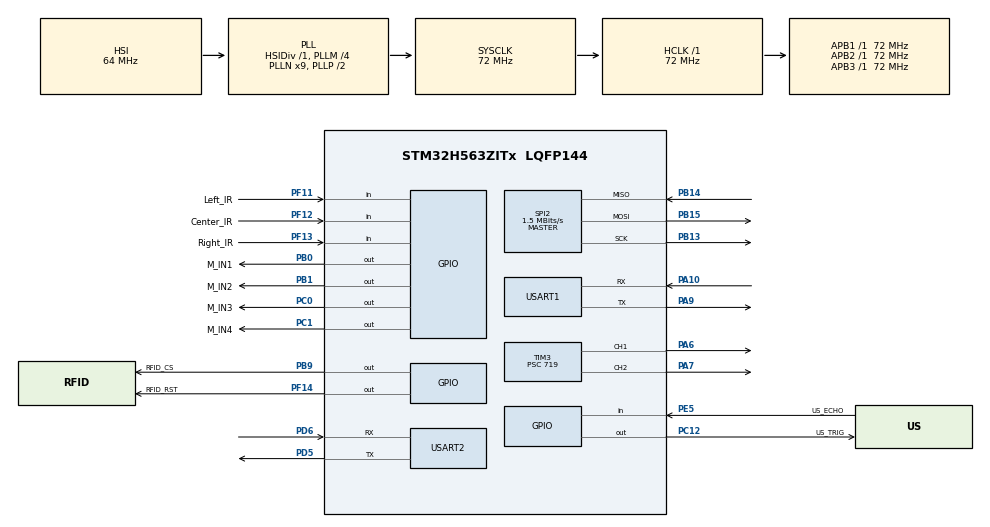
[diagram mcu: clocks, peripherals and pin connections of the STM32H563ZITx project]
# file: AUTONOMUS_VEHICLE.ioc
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BOOTPATH.BootPathName=LEGACY
BOOTPATH.UserSelectedBootPath=LEGACY
CORTEX_M33_NS.userName=CORTEX_M33
Mcu.Family=STM32H5
Mcu.Name=STM32H563ZITx
Mcu.Package=LQFP144
NVIC.PriorityGroup=NVIC_PRIORITYGROUP_4
NVIC.USART1_IRQn=true\:0\:0\:false\:false\:true\:true\:true\:true
PA10.Mode=Asynchronous
PA10.Signal=USART1_RX
PA6.Signal=S_TIM3_CH1
PA7.Signal=S_TIM3_CH2
PA9.Mode=Asynchronous
PA9.Signal=USART1_TX
PB0.GPIO_Label=M_IN1
PB0.Signal=GPIO_Output
PB1.GPIO_Label=M_IN2
PB1.Signal=GPIO_Output
PB13.Mode=Full_Duplex_Master
PB13.Signal=SPI2_SCK
PB14.Mode=Full_Duplex_Master
PB14.Signal=SPI2_MISO
PB15.Mode=Full_Duplex_Master
PB15.Signal=SPI2_MOSI
PB9.GPIO_Label=RFID_CS
PB9.Signal=GPIO_Output
PC0.GPIO_Label=M_IN3
PC0.Signal=GPIO_Output
PC1.GPIO_Label=M_IN4
PC1.Signal=GPIO_Output
PC12.GPIO_Label=US_TRIG
PC12.Signal=GPIO_Output
PD5.Mode=Asynchronous
PD5.Signal=USART2_TX
PD6.Mode=Asynchronous
PD6.Signal=USART2_RX
PE5.GPIO_Label=US_ECHO
PE5.Signal=GPIO_Input
PF11.GPIO_Label=Left_IR
PF11.GPIO_PuPd=GPIO_PULLUP
PF11.Signal=GPIO_Input
PF12.GPIO_Label=Center_IR
PF12.GPIO_PuPd=GPIO_PULLUP
PF12.Signal=GPIO_Input
PF13.GPIO_Label=Right_IR
PF13.GPIO_PuPd=GPIO_PULLUP
PF13.Signal=GPIO_Input
PF14.GPIO_Label=RFID_RST
PF14.Signal=GPIO_Output
ProjectManager.HeapSize=0x200
ProjectManager.StackSize=0x400
ProjectManager.TargetToolchain=STM32CubeIDE
RCC.ADCFreq_Value=72000000
RCC.AHBFreq_Value=72000000
RCC.APB1Freq_Value=72000000
RCC.APB1TimFreq_Value=72000000
RCC.APB2Freq_Value=72000000
RCC.APB2TimFreq_Value=72000000
RCC.APB3Freq_Value=72000000
RCC.CSI_VALUE=4000000
RCC.CortexFreq_Value=72000000
RCC.EPOD_VALUE=64000000
RCC.HCLKFreq_Value=72000000
RCC.HSE_VALUE=25000000
RCC.HSI48_VALUE=48000000
RCC.HSIDiv=RCC_HSI_DIV1
RCC.HSI_VALUE=64000000
RCC.LSE_VALUE=32768
RCC.LSIRC_VALUE=32000
RCC.PLL1Q=3
RCC.PLL2FRACN=0
RCC.PLL3FRACN=0
RCC.PLLFRACN=0
RCC.PLLM=4
RCC.PLLN=9
RCC.PLLSourceVirtual=RCC_PLL1_SOURCE_HSI
RCC.SYSCLKFreq_VALUE=72000000
RCC.SYSCLKSource=RCC_SYSCLKSOURCE_PLLCLK
RCC.USBFreq_Value=48000000
RCC.VCOOutputFreq_Value=144000000
SH.S_TIM3_CH1.0=TIM3_CH1,PWM Generation1 CH1
SH.S_TIM3_CH2.0=TIM3_CH2,PWM Generation2 CH2
SPI2.BaudRatePrescaler=SPI_BAUDRATEPRESCALER_32
SPI2.CalculateBaudRate=1.5 MBits/s
SPI2.DataSize=SPI_DATASIZE_8BIT
SPI2.Direction=SPI_DIRECTION_2LINES
SPI2.Mode=SPI_MODE_MASTER
SPI2.VirtualType=VM_MASTER
TIM3.Channel-PWM\ Generation1\ CH1=TIM_CHANNEL_1
TIM3.Channel-PWM\ Generation2\ CH2=TIM_CHANNEL_2
TIM3.PeriodNoDither=99
TIM3.Prescaler=719
USART1.VirtualMode-Asynchronous=VM_ASYNC
USART2.VirtualMode-Asynchronous=VM_ASYNC
VP_BOOTPATH_VS_BOOTPATH.Mode=BP_Activate
VP_CORTEX_M33_NS_VS_Hclk.Mode=Hclk_Mode
VP_MEMORYMAP_VS_MEMORYMAP.Mode=CurAppReg
VP_PWR_VS_LPOM.Mode=PowerOptimisation
VP_PWR_VS_SECSignals.Mode=Security/Privilege
VP_TIM3_VS_ClockSourceINT.Mode=Internal
board=custom

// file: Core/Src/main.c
//----------------------------07-11-26----------------------------//

/* USER CODE BEGIN Header */
/**
  ******************************************************************************
  * @file           : main.c
  * @brief          : Main program body
  ******************************************************************************
  * @attention
  *
  * Copyright (c) 2026 STMicroelectronics.
  * All rights reserved.
  *
  * This software is licensed under terms that can be found in the LICENSE file
  * in the root directory of this software component.
  * If no LICENSE file comes with this software, it is provided AS-IS.
  *
  ******************************************************************************
  */
/* USER CODE END Header */
#include "main.h"

/* USER CODE BEGIN Includes */

#include "line_follower.h"
#include "ultrasonic.h"
#include "rc522.h"

#include <stdio.h>
#include <stdlib.h>
#include <string.h>
#include <stdint.h>
#include <ctype.h>
/* USER CODE END Includes */

SPI_HandleTypeDef hspi2;

TIM_HandleTypeDef htim3;

UART_HandleTypeDef huart1;
UART_HandleTypeDef huart2;

void SystemClock_Config(void);
static void MX_GPIO_Init(void);
static void MX_SPI2_Init(void);
static void MX_TIM3_Init(void);
static void MX_USART1_UART_Init(void);
static void MX_USART2_UART_Init(void);
/* USER CODE BEGIN PFP */
static void USART1_ProcessRx(void);
static void USART1_SendLine(const char *line);
static void USART1_HandleCommand(char *line);
static void USART1_ReportEvents(void);
/* USER CODE END PFP */

/* USER CODE BEGIN 0 */
int __io_putchar(int ch)
{
    uint8_t c = (uint8_t)ch;

    /* Local STM32 debug console (USART2). */
    (void)HAL_UART_Transmit(&huart2, &c, 1U, 10U);

    /* Mirror STM32 debug text to ESP32 gateway (USART1). */
    (void)HAL_UART_Transmit(&huart1, &c, 1U, 10U);

    return ch;
}

#define USART1_RX_BUFFER_SIZE 96U
#define USART1_RX_QUEUE_SIZE 128U
static char usart1RxBuffer[USART1_RX_BUFFER_SIZE];
static uint8_t usart1RxIndex = 0U;
static uint8_t usart1RxByte = 0U;
static volatile uint8_t usart1RxQueue[USART1_RX_QUEUE_SIZE];
static volatile uint16_t usart1RxHead = 0U;
static volatile uint16_t usart1RxTail = 0U;
static volatile uint8_t usart1RxOverflow = 0U;
static char activeTurnJunction[8] = "J?";

/* Route graph: point index 0=START, 1..6=D1..D6.
 * Directions are taken from the user's verified origin-specific route sheets. */
typedef struct { const char *junction; const char *direction; } RouteStep;
#define MAX_ROUTE_STEPS 6U
#define POINT_COUNT 7U
#define STEP(j,d) { j, d }
#define EMPTY_STEP { NULL, NULL }
static const RouteStep routeTable[POINT_COUNT][POINT_COUNT][MAX_ROUTE_STEPS] = {
/* FROM START */
[0][1] = { STEP("J1","LEFT") },
[0][2] = { STEP("J1","STRAIGHT"), STEP("J6","LEFT"), STEP("J2","LEFT") },
[0][3] = { STEP("J1","STRAIGHT"), STEP("J6","LEFT"), STEP("J2","STRAIGHT"), STEP("J5","RIGHT"), STEP("J3","RIGHT") },
[0][4] = { STEP("J1","STRAIGHT"), STEP("J6","LEFT"), STEP("J2","STRAIGHT"), STEP("J5","RIGHT"), STEP("J3","STRAIGHT"), STEP("J4","LEFT") },
[0][5] = { STEP("J1","STRAIGHT"), STEP("J6","LEFT"), STEP("J2","STRAIGHT"), STEP("J5","STRAIGHT") },
[0][6] = { STEP("J1","STRAIGHT"), STEP("J6","STRAIGHT") },
/* FROM D1 */
[1][0] = { STEP("J1","RIGHT") },
[1][2] = { STEP("J1","LEFT"), STEP("J6","LEFT"), STEP("J2","LEFT") },
[1][3] = { STEP("J1","LEFT"), STEP("J6","LEFT"), STEP("J2","STRAIGHT"), STEP("J5","RIGHT"), STEP("J3","RIGHT") },
[1][4] = { STEP("J1","LEFT"), STEP("J6","LEFT"), STEP("J2","STRAIGHT"), STEP("J5","RIGHT"), STEP("J3","STRAIGHT"), STEP("J4","LEFT") },
[1][5] = { STEP("J1","LEFT"), STEP("J6","LEFT"), STEP("J2","STRAIGHT"), STEP("J5","STRAIGHT") },
[1][6] = { STEP("J1","LEFT"), STEP("J6","STRAIGHT") },
/* FROM D2 */
[2][0] = { STEP("J2","RIGHT"), STEP("J6","RIGHT"), STEP("J1","STRAIGHT") },
[2][1] = { STEP("J2","RIGHT"), STEP("J6","RIGHT"), STEP("J1","RIGHT") },
[2][3] = { STEP("J2","LEFT"), STEP("J5","RIGHT"), STEP("J3","RIGHT") },
[2][4] = { STEP("J2","LEFT"), STEP("J5","RIGHT"), STEP("J3","STRAIGHT"), STEP("J4","LEFT") },
[2][5] = { STEP("J2","LEFT"), STEP("J5","STRAIGHT") },
[2][6] = { STEP("J2","RIGHT"), STEP("J6","LEFT") },
/* FROM D3 */
[3][0] = { STEP("J3","LEFT"), STEP("J5","LEFT"), STEP("J2","STRAIGHT"), STEP("J6","RIGHT"), STEP("J1","STRAIGHT") },
[3][1] = { STEP("J3","LEFT"), STEP("J5","LEFT"), STEP("J2","STRAIGHT"), STEP("J6","RIGHT"), STEP("J1","RIGHT") },
[3][2] = { STEP("J3","LEFT"), STEP("J5","LEFT"), STEP("J2","RIGHT") },
[3][4] = { STEP("J3","RIGHT"), STEP("J4","LEFT") },
[3][5] = { STEP("J3","LEFT"), STEP("J5","RIGHT") },
[3][6] = { STEP("J3","LEFT"), STEP("J5","LEFT"), STEP("J2","STRAIGHT"), STEP("J6","LEFT") },
/* FROM D4 */
[4][0] = { STEP("J4","RIGHT"), STEP("J3","STRAIGHT"), STEP("J5","LEFT"), STEP("J2","STRAIGHT"), STEP("J6","RIGHT"), STEP("J1","STRAIGHT") },
[4][1] = { STEP("J4","RIGHT"), STEP("J3","STRAIGHT"), STEP("J5","LEFT"), STEP("J2","STRAIGHT"), STEP("J6","RIGHT"), STEP("J1","RIGHT") },
[4][2] = { STEP("J4","RIGHT"), STEP("J3","STRAIGHT"), STEP("J5","LEFT"), STEP("J2","RIGHT") },
[4][3] = { STEP("J4","RIGHT"), STEP("J3","LEFT") },
[4][5] = { STEP("J4","RIGHT"), STEP("J3","STRAIGHT"), STEP("J5","RIGHT") },
[4][6] = { STEP("J4","RIGHT"), STEP("J3","STRAIGHT"), STEP("J5","LEFT"), STEP("J2","STRAIGHT"), STEP("J6","LEFT") },
/* FROM D5 */
[5][0] = { STEP("J5","STRAIGHT"), STEP("J2","STRAIGHT"), STEP("J6","RIGHT"), STEP("J1","STRAIGHT") },
[5][1] = { STEP("J5","STRAIGHT"), STEP("J2","STRAIGHT"), STEP("J6","RIGHT"), STEP("J1","RIGHT") },
[5][2] = { STEP("J5","STRAIGHT"), STEP("J2","RIGHT") },
[5][3] = { STEP("J5","LEFT"), STEP("J3","RIGHT") },
[5][4] = { STEP("J5","LEFT"), STEP("J3","STRAIGHT"), STEP("J4","LEFT") },
[5][6] = { STEP("J5","STRAIGHT"), STEP("J2","STRAIGHT"), STEP("J6","LEFT") },
/* FROM D6 */
[6][0] = { STEP("J6","STRAIGHT"), STEP("J1","STRAIGHT") },
[6][1] = { STEP("J6","STRAIGHT"), STEP("J1","RIGHT") },
[6][2] = { STEP("J6","RIGHT"), STEP("J2","LEFT") },
[6][3] = { STEP("J6","RIGHT"), STEP("J2","STRAIGHT"), STEP("J5","RIGHT"), STEP("J3","RIGHT") },
[6][4] = { STEP("J6","RIGHT"), STEP("J2","STRAIGHT"), STEP("J5","RIGHT"), STEP("J3","STRAIGHT"), STEP("J4","LEFT") },
[6][5] = { STEP("J6","RIGHT"), STEP("J2","STRAIGHT"), STEP("J5","STRAIGHT") }
};
static const uint8_t routeLengths[POINT_COUNT][POINT_COUNT] = {
 {0,1,3,5,6,4,2},
 {1,0,3,5,6,4,2},
 {3,3,0,3,4,2,2},
 {5,5,3,0,2,2,4},
 {6,6,4,2,0,3,5},
 {4,4,2,2,3,0,3},
 {2,2,2,4,5,3,0}
};
static int8_t selectedDestination = -1;
static int8_t currentLocation = -1; /* 0=START, 1..6=D1..D6, -1=unknown */
static int8_t routeOrigin = -1;
static uint8_t routeIndex = 0U;
static uint8_t routeActive = 0U;
static uint8_t turnInProgress = 0U;
static uint8_t uTurnPending = 0U;
/* Arrival latch filters repeated events; RC522 polling never stops. */
static uint8_t destinationReachedLock = 0U;
static uint8_t rfidReady = 0U;
static uint8_t lastSeenUID[4] = {0U};
static uint8_t haveLastUID = 0U;
/* RFID anti-repeat: tolerate brief RC522 read dropouts without re-triggering. */
#define RFID_RELEASE_DEBOUNCE_MS  300U
#define RFID_DUPLICATE_GUARD_MS   1200U
static uint32_t lastSuccessfulUIDReadMs = 0U;
static uint32_t lastProcessedUIDMs = 0U;
static uint8_t haveProcessedUID = 0U;
static uint8_t lastProcessedUID[4] = {0U};

static const struct { const char *name; uint8_t uid[4]; } tagTable[] = {
    {"J1", {0x5A,0xA1,0xCB,0xF2}}, {"J2", {0x48,0xCF,0x69,0xFC}},
    {"J3", {0x2A,0xEA,0x45,0xF2}}, {"J4", {0x59,0xB7,0xEC,0xDA}},
    {"J5", {0x0A,0x6E,0xA0,0xF2}}, {"J6", {0xAD,0xD3,0x0F,0x05}},
    {"START", {0x44,0x30,0x19,0x07}},
    {"D1", {0x56,0x3E,0xC4,0xD3}}, {"D2", {0x49,0x4D,0x1D,0xDA}},
    {"D3", {0x1A,0x7B,0x49,0xF2}}, {"D4", {0x43,0x09,0x27,0x38}},
    {"D5", {0x0A,0xCF,0x77,0xF2}}, {"D6", {0xFA,0x44,0x1D,0xF1}}
};
#define TAG_COUNT ((uint8_t)(sizeof(tagTable)/sizeof(tagTable[0])))

static void USART1_SendLine(const char *line)
{
    if (line == NULL) return;
    (void)HAL_UART_Transmit(&huart1, (uint8_t *)line, (uint16_t)strlen(line), 100U);
    (void)HAL_UART_Transmit(&huart1, (uint8_t *)"\r\n", 2U, 100U);

    char debugLine[128];
    int n = snprintf(debugLine, sizeof(debugLine), "[USART1 TX] %s\r\n", line);
    if (n > 0) {
        size_t count = ((size_t)n < sizeof(debugLine)) ? (size_t)n : sizeof(debugLine) - 1U;
        (void)HAL_UART_Transmit(&huart2, (uint8_t *)debugLine, (uint16_t)count, 50U);
    }
}

static void ResetRouteState(void)
{
    selectedDestination = -1; routeOrigin = -1; routeIndex = 0U;
    routeActive = 0U; turnInProgress = 0U; uTurnPending = 0U;
}

static int8_t PointIndexFromName(const char *name)
{
    if (name == NULL) return -1;
    if (strcmp(name, "START") == 0) return 0;
    if (name[0] == 'D' && name[1] >= '1' && name[1] <= '6' && name[2] == '\0') return (int8_t)(name[1] - '0');
    return -1;
}

static const char *PointName(int8_t point)
{
    if (point == 0) return "START";
    if (point >= 1 && point <= 6) { static const char *names[] = {"D1","D2","D3","D4","D5","D6"}; return names[point-1]; }
    return "UNKNOWN";
}

static void USART1_HandleCommand(char *line)
{
    char destination[8] = {0};
    if (strcmp(line, "STOP") == 0) { ResetRouteState(); LineFollower_LatchStop(); USART1_SendLine("ACK|STOP"); return; }
    if (strcmp(line, "RESET") == 0) {
        ResetRouteState();
        destinationReachedLock = 0U;
        haveLastUID = 0U;
        haveProcessedUID = 0U;
        uTurnPending = 0U;
        LineFollower_ResetNavigationFault();
        USART1_SendLine("ACK|RESET");
        printf("[RFID] Destination lock cleared by RESET.\r\n"); return;
    }
    const char *d = NULL;
    if (strcmp(line, "START") == 0 || (sscanf(line, "DEST|%7s", destination) == 1 && strcmp(destination, "START") == 0)) d = "START";
    else if ((strlen(line) == 2U && line[0] == 'D' && line[1] >= '1' && line[1] <= '6') ||
             (sscanf(line, "DEST|%7s", destination) == 1 && strlen(destination) == 2U && destination[0] == 'D' && destination[1] >= '1' && destination[1] <= '6'))
        d = (line[0] == 'D' && line[1] >= '1' && line[1] <= '6' && strlen(line) == 2U) ? line : destination;
    if (d != NULL) {
        int8_t target = PointIndexFromName(d);
        if (target < 0) { USART1_SendLine("ERR|DEST|INVALID"); return; }
        if (currentLocation < 0) {
            USART1_SendLine("ERR|LOCATION|UNKNOWN");
            printf("[LOCATION] Unknown current point. Read START or D1-D6 tag while idle before selecting a route.\r\n"); return;
        }
        if (currentLocation == target) {
            char message[64]; snprintf(message, sizeof(message), "ERR|DEST|ALREADY_THERE|%s", PointName(target));
            USART1_SendLine(message); printf("[DESTINATION] Already at %s; request rejected.\r\n", PointName(target)); return;
        }
        if (LineFollower_SetDestination()) {
            destinationReachedLock = 0U; haveLastUID = 0U; haveProcessedUID = 0U;
            routeOrigin = currentLocation; selectedDestination = target; routeIndex = 0U; routeActive = 1U; turnInProgress = 0U;
            uTurnPending = (routeOrigin != 0) ? 1U : 0U;
            char response[40]; snprintf(response, sizeof(response), "ACK|ROUTE|%s|%s", PointName(routeOrigin), PointName(target));
            USART1_SendLine(response);
            printf("[LOCATION] Current point: %s. Requested destination: %s.\r\n", PointName(routeOrigin), PointName(target));
            if (uTurnPending) printf("[NAV] A 180-degree alignment turn is required before the return route.\r\n");
            else printf("[ROUTE] Starting from START; route selected.\r\n");
        } else USART1_SendLine("ERR|DEST|LOCKED");
        return;
    }
    USART1_SendLine("ERR|UNKNOWN_COMMAND");
}

static void USART1_ProcessRx(void)
{
    while (usart1RxTail != usart1RxHead) {
        uint8_t ch = usart1RxQueue[usart1RxTail];
        usart1RxTail = (uint16_t)((usart1RxTail + 1U) % USART1_RX_QUEUE_SIZE);

        if (ch == '\r' || ch == '\n') {
            if (usart1RxIndex > 0U) {
                usart1RxBuffer[usart1RxIndex] = '\0';
                printf("[USART1 RX] %s\r\n", usart1RxBuffer);
                USART1_HandleCommand(usart1RxBuffer);
                usart1RxIndex = 0U;
            }
        } else if (ch >= 32U && ch <= 126U) {
            if (usart1RxIndex < USART1_RX_BUFFER_SIZE - 1U) {
                usart1RxBuffer[usart1RxIndex++] = (char)ch;
            } else {
                usart1RxIndex = 0U;
                printf("[USART1 ERROR] RX command too long; line discarded.\r\n");
                USART1_SendLine("ERR|RX_LINE_TOO_LONG");
            }
        }
    }

    if (usart1RxOverflow != 0U) {
        usart1RxOverflow = 0U;
        printf("[USART1 ERROR] RX queue overflow; some input bytes may have been lost.\r\n");
    }
}

static void HandleRFIDTag(const uint8_t uid[4])
{
    int found = -1;
    for (uint8_t i = 0U; i < TAG_COUNT; ++i) if (memcmp(uid, tagTable[i].uid, 4U) == 0) { found = (int)i; break; }
    if (found < 0) {
        printf("[RFID] Unknown UID %02X %02X %02X %02X\r\n", uid[0],uid[1],uid[2],uid[3]);
        if (routeActive) { ResetRouteState(); LineFollower_LatchStop(); USART1_SendLine("ERR|RFID|UNKNOWN"); } return;
    }
    const char *name = tagTable[found].name;
    printf("[RFID] Recognized %s\r\n", name);
    int8_t point = PointIndexFromName(name);
    /*
     * Keep polling the RC522 continuously, including after arrival. The
     * destination lock filters events; it never disables the RFID reader.
     */
    if (!routeActive || selectedDestination < 0) {
        if (destinationReachedLock) {
            /* Keep last confirmed arrival as currentLocation. A new destination
               command may depart from it, including START (point index 0). */
            return;
        }

        if (point >= 0) {
            currentLocation = point;
            printf("[LOCATION] Vehicle location confirmed: %s.\r\n", PointName(currentLocation));
            char msg[40];
            snprintf(msg, sizeof(msg), "LOCATION|%s", PointName(currentLocation));
            USART1_SendLine(msg);
        } else {
            printf("[RFID] No active route; junction tag logged only.\r\n");
        }
        return;
    }

    if (turnInProgress || uTurnPending) {
        printf("[RFID] Ignored while maneuver is in progress.\r\n");
        return;
    }

    /*
     * The source location tag is physically underneath the vehicle when the
     * route is selected. Ignore it throughout this route so it cannot be
     * mistaken for an unexpected/early destination.
     */
    if (point >= 0 && point == routeOrigin) {
        printf("[RFID] Ignored source-location tag %s while travelling to %s.\r\n",
               name, PointName(selectedDestination));
        return;
    }
    if (name[0] == 'J') {
        if (routeIndex >= routeLengths[(uint8_t)routeOrigin][(uint8_t)selectedDestination] ||
            routeTable[(uint8_t)routeOrigin][(uint8_t)selectedDestination][routeIndex].junction == NULL ||
            strcmp(name, routeTable[(uint8_t)routeOrigin][(uint8_t)selectedDestination][routeIndex].junction) != 0) {
            const char *expected = (routeIndex < routeLengths[(uint8_t)routeOrigin][(uint8_t)selectedDestination]) ? routeTable[(uint8_t)routeOrigin][(uint8_t)selectedDestination][routeIndex].junction : "no junction";
            printf("[NAV FAULT] Expected %s but detected %s.\r\n", expected, name);
            ResetRouteState(); LineFollower_LatchStop(); USART1_SendLine("ERR|RFID|WRONG_JUNCTION"); return;
        }
        const RouteStep *step = &routeTable[(uint8_t)routeOrigin][(uint8_t)selectedDestination][routeIndex];
        strncpy(activeTurnJunction, step->junction, sizeof(activeTurnJunction)-1U); activeTurnJunction[sizeof(activeTurnJunction)-1U] = '\0';
        if (LineFollower_RequestTurn(step->direction)) {
            turnInProgress = 1U; char response[64]; snprintf(response, sizeof(response), "NAV|%s|%s|%s", step->junction, step->direction, PointName(selectedDestination)); USART1_SendLine(response);
        } else { ResetRouteState(); LineFollower_LatchStop(); USART1_SendLine("ERR|NAV|LOCKED_OR_BUSY"); } return;
    }
    if (point >= 0) {
        if (point != selectedDestination || routeIndex != routeLengths[(uint8_t)routeOrigin][(uint8_t)selectedDestination]) {
            printf("[NAV FAULT] Wrong/early point %s.\r\n", name);
            ResetRouteState();
            LineFollower_LatchStop();
            USART1_SendLine("ERR|RFID|WRONG_OR_EARLY_DEST"); return;
        }
        LineFollower_Arrive();
        currentLocation = point;
        destinationReachedLock = 1U;
        ResetRouteState(); haveLastUID = 0U; uTurnPending = 0U;
        printf("[LOCATION] ARRIVED at %s.\r\n", PointName(currentLocation));
        printf("[RFID] Destination lock active until RESET or a new destination command.\r\n");
        char response[40]; snprintf(response, sizeof(response), "ARRIVE|%s", PointName(point)); USART1_SendLine(response);
    }
}

static void RFID_Process(void)
{
    uint8_t uid[4];
    uint32_t now = HAL_GetTick();
    static uint32_t lastDiagMs = 0U;

    /* Report reader-stage counters every 2 seconds for firmware debugging. */
    if ((uint32_t)(now - lastDiagMs) >= 2000U) {
        RC522_Diag_t d;
        RC522_GetDiag(&d);
//        printf("[RFID DIAG] polls=%lu uidOK=%lu REQA_OK=%lu REQA_timeout=%lu "
//               "REQA_error=%lu anticollision_fail=%lu BCC_fail=%lu SPI_fail=%lu lastErr=0x%02X\r\n",
//               (unsigned long)d.polls,
//               (unsigned long)d.ok,
//               (unsigned long)d.reqaOk,
//               (unsigned long)d.reqaTimeout,
//               (unsigned long)d.reqaError,
//               (unsigned long)d.antiFail,
//               (unsigned long)d.bccFail,
//               (unsigned long)d.spiFail,
//               d.lastErr);
        lastDiagMs = now;
    }

    /* Retry reader startup if a transient SPI/version read failed. */
    if (!rfidReady) {
        static uint32_t lastRetryMs = 0U;
        if ((uint32_t)(now - lastRetryMs) >= 2000U) {
            lastRetryMs = now;
            RC522_Init();
            uint8_t v = RC522_ReadVersion();
            rfidReady = (v != 0x00U && v != 0xFFU);
            printf("[RFID] Reader retry: version=0x%02X ready=%u\r\n", v, rfidReady);
        }
        if (!rfidReady) return;
    }

    if (!RC522_ReadUID(uid)) {
        /* Do not re-arm on a single missed read: RC522 reads can briefly drop
           while a card is still within range. Require a sustained absence. */
        if (haveLastUID &&
            (uint32_t)(now - lastSuccessfulUIDReadMs) >= RFID_RELEASE_DEBOUNCE_MS) {
            haveLastUID = 0U;
        }
        return;
    }

    lastSuccessfulUIDReadMs = now;

    /* Same card remains present: never dispatch the same event repeatedly. */
    if (haveLastUID && memcmp(uid, lastSeenUID, 4U) == 0) return;

    /* Also suppress rapid re-presentation/re-read of the same UID, even if
       the reader briefly reported no card between consecutive reads. */
    if (haveProcessedUID && memcmp(uid, lastProcessedUID, 4U) == 0 &&
        (uint32_t)(now - lastProcessedUIDMs) < RFID_DUPLICATE_GUARD_MS) {
        memcpy(lastSeenUID, uid, 4U);
        haveLastUID = 1U;
        return;
    }

    memcpy(lastSeenUID, uid, 4U);
    haveLastUID = 1U;
    memcpy(lastProcessedUID, uid, 4U);
    lastProcessedUIDMs = now;
    haveProcessedUID = 1U;
    HandleRFIDTag(uid);
}

static void USART1_ReportEvents(void)
{
    if (uTurnPending && routeActive && !turnInProgress) {
        if (LineFollower_RequestUTurn()) { turnInProgress = 1U; strncpy(activeTurnJunction, "UTURN", sizeof(activeTurnJunction)-1U); USART1_SendLine("NAV|UTURN|180|ALIGN"); }
        else { ResetRouteState(); LineFollower_LatchStop(); USART1_SendLine("ERR|NAV|UTURN_FAILED"); }
    }
    if (LineFollower_TakeUTurnDoneEvent()) {
        uTurnPending = 0U; turnInProgress = 0U;
        USART1_SendLine("DONE|UTURN|180");
        printf("[NAV] 180-degree turn complete; following route from %s to %s.\r\n", PointName(routeOrigin), PointName(selectedDestination));
    }
    if (LineFollower_TakeTurnDoneEvent()) {
        turnInProgress = 0U; routeIndex++;
        char response[48]; snprintf(response, sizeof(response), "DONE|%s|%u/%u", activeTurnJunction, routeIndex, (routeOrigin >= 0 && selectedDestination >= 0) ? routeLengths[(uint8_t)routeOrigin][(uint8_t)selectedDestination] : 0U); USART1_SendLine(response);
        printf("[ROUTE] %s -> %s progress %u/%u\r\n", PointName(routeOrigin), PointName(selectedDestination), routeIndex, (routeOrigin >= 0 && selectedDestination >= 0) ? routeLengths[(uint8_t)routeOrigin][(uint8_t)selectedDestination] : 0U);
    }
    if (LineFollower_TakeTurnFaultEvent()) {
        ResetRouteState(); USART1_SendLine("ERR|TURN_TIMEOUT");
    }
}

/* USART1 RX interrupt callback: queue bytes; parse commands in the main loop. */
static void USART1_StartRx(void)
{
    usart1RxHead = 0U;
    usart1RxTail = 0U;
    usart1RxIndex = 0U;
    usart1RxOverflow = 0U;

    if (HAL_UART_Receive_IT(&huart1, &usart1RxByte, 1U) != HAL_OK) {
        printf("[USART1 ERROR] Failed to start RX interrupt.\r\n");
    }
}

void HAL_UART_RxCpltCallback(UART_HandleTypeDef *huart)
{
    if (huart->Instance == USART1)
    {
        uint16_t next =
            (uint16_t)((usart1RxHead + 1U) % USART1_RX_QUEUE_SIZE);

        if (next != usart1RxTail)
        {
            usart1RxQueue[usart1RxHead] = usart1RxByte;
            usart1RxHead = next;
        }
        else
        {
            usart1RxOverflow = 1U;
        }

        HAL_StatusTypeDef status =
            HAL_UART_Receive_IT(&huart1, &usart1RxByte, 1U);

        if (status != HAL_OK)
        {
            /* Record the failure for reporting from the main loop. */
            usart1RxOverflow = 1U;
        }
    }
}
//void HAL_UART_RxCpltCallback(UART_HandleTypeDef *huart)
//{
//    if (huart->Instance == USART1) {
//        uint16_t next = (uint16_t)((usart1RxHead + 1U) % USART1_RX_QUEUE_SIZE);
//        if (next != usart1RxTail) {
//            usart1RxQueue[usart1RxHead] = usart1RxByte;
//            usart1RxHead = next;
//        } else {
//            usart1RxOverflow = 1U;
//        }
//        (void)HAL_UART_Receive_IT(&huart1, &usart1RxByte, 1U);
//    }
//}

static volatile uint32_t usart1LastError = HAL_UART_ERROR_NONE;
static volatile uint8_t usart1ErrorEvent = 0U;

void HAL_UART_ErrorCallback(UART_HandleTypeDef *huart)
{
    if (huart->Instance == USART1)
    {
        usart1LastError = HAL_UART_GetError(huart);
        usart1ErrorEvent = 1U;

        (void)HAL_UART_AbortReceive(&huart1);
        (void)HAL_UART_Receive_IT(
            &huart1,
            &usart1RxByte,
            1U
        );
    }
}

//void HAL_UART_ErrorCallback(UART_HandleTypeDef *huart)
//{
//    if (huart->Instance == USART1) {
//        (void)HAL_UART_AbortReceive(&huart1);
//        (void)HAL_UART_Receive_IT(&huart1, &usart1RxByte, 1U);
//    }
//}

/* USER CODE END 0 */

int main(void)
{

  /* MCU Configuration--------------------------------------------------------*/

  /* Reset of all peripherals, Initializes the Flash interface and the Systick. */
  HAL_Init();

  /* Configure the system clock */
  SystemClock_Config();

  /* Initialize all configured peripherals */
  MX_GPIO_Init();
  MX_SPI2_Init();
  MX_TIM3_Init();
  MX_USART1_UART_Init();
  MX_USART2_UART_Init();
  /* USER CODE BEGIN 2 */
  /* Start USART1 reception from the ESP32. */

    USART1_StartRx();

  /* Start both motor PWM channels (TIM3 ARR = 99). */
    if (HAL_TIM_PWM_Start(&htim3, TIM_CHANNEL_1) != HAL_OK)
    {
        Error_Handler();
    }
    if (HAL_TIM_PWM_Start(&htim3, TIM_CHANNEL_2) != HAL_OK)
    {
        Error_Handler();
    }

  Ultrasonic_Init();
  RC522_Init();
  uint8_t rc522Version = RC522_ReadVersion();
  printf("[RFID] RC522 version: 0x%02X\r\n", rc522Version);
  rfidReady = (rc522Version != 0x00U && rc522Version != 0xFFU);
  if (!rfidReady) { printf("[RFID ERROR] RC522 not responding at startup; automatic retry enabled.\r\n"); }
  else printf("[RFID] Reader ready; STM32 owns RFID and route logic.\r\n");

  printf("\r\n");
  printf("========================================\r\n");
  printf(" STM32H563 V2 ROBOT\r\n");
  printf(" RFID + IR + ULTRASONIC + MOTOR CONTROL\r\n");
  printf("========================================\r\n");
  printf("IR: PF11 PF12 PF13\r\n");
  printf("ULTRA TRIG: PC12\r\n");
  printf("ULTRA ECHO: PE5\r\n");
  printf("USART2: debug UART 115200\r\n");
  printf("USART1: ESP32 link 115200 8N1 (verify CubeMX AF pins)\r\n");
  printf("Startup state: navigation locked until RESET + DEST\r\n");
  printf("[LOCATION] Current point is UNKNOWN until START or D1-D6 tag is read while idle.\r\n");
  printf("[ROUTES] Point-to-point routing enabled; START UID = 44 30 19 07.\r\n");
  printf("========================================\r\n");
  /* USER CODE END 2 */

  /* Infinite loop */
  while (1)
  {
	  RFID_Process();

	  if (usart1ErrorEvent != 0U)
	  {
	      uint32_t error = usart1LastError;
	      usart1ErrorEvent = 0U;

	      printf(
	          "[USART1 ERROR] HAL error code = 0x%08lX\r\n",
	          (unsigned long)error
	      );
	  }
	  USART1_ProcessRx();

	      LineFollower_Run();
	      USART1_ReportEvents();

  }
}

void SystemClock_Config(void)
{
  RCC_OscInitTypeDef RCC_OscInitStruct = {0};
  RCC_ClkInitTypeDef RCC_ClkInitStruct = {0};

  /** Configure the main internal regulator output voltage
  */
  __HAL_PWR_VOLTAGESCALING_CONFIG(PWR_REGULATOR_VOLTAGE_SCALE3);

  while(!__HAL_PWR_GET_FLAG(PWR_FLAG_VOSRDY)) {}

  /** Initializes the RCC Oscillators according to the specified parameters
  * in the RCC_OscInitTypeDef structure.
  */
  RCC_OscInitStruct.OscillatorType = RCC_OSCILLATORTYPE_HSI;
  RCC_OscInitStruct.HSIState = RCC_HSI_ON;
  RCC_OscInitStruct.HSIDiv = RCC_HSI_DIV1;
  RCC_OscInitStruct.HSICalibrationValue = RCC_HSICALIBRATION_DEFAULT;
  RCC_OscInitStruct.PLL.PLLState = RCC_PLL_ON;
  RCC_OscInitStruct.PLL.PLLSource = RCC_PLL1_SOURCE_HSI;
  RCC_OscInitStruct.PLL.PLLM = 4;
  RCC_OscInitStruct.PLL.PLLN = 9;
  RCC_OscInitStruct.PLL.PLLP = 2;
  RCC_OscInitStruct.PLL.PLLQ = 3;
  RCC_OscInitStruct.PLL.PLLR = 2;
  RCC_OscInitStruct.PLL.PLLRGE = RCC_PLL1_VCIRANGE_3;
  RCC_OscInitStruct.PLL.PLLVCOSEL = RCC_PLL1_VCORANGE_WIDE;
  RCC_OscInitStruct.PLL.PLLFRACN = 0;
  if (HAL_RCC_OscConfig(&RCC_OscInitStruct) != HAL_OK)
  {
    Error_Handler();
  }

  /** Initializes the CPU, AHB and APB buses clocks
  */
  RCC_ClkInitStruct.ClockType = RCC_CLOCKTYPE_HCLK|RCC_CLOCKTYPE_SYSCLK
                              |RCC_CLOCKTYPE_PCLK1|RCC_CLOCKTYPE_PCLK2
                              |RCC_CLOCKTYPE_PCLK3;
  RCC_ClkInitStruct.SYSCLKSource = RCC_SYSCLKSOURCE_PLLCLK;
  RCC_ClkInitStruct.AHBCLKDivider = RCC_SYSCLK_DIV1;
  RCC_ClkInitStruct.APB1CLKDivider = RCC_HCLK_DIV1;
  RCC_ClkInitStruct.APB2CLKDivider = RCC_HCLK_DIV1;
  RCC_ClkInitStruct.APB3CLKDivider = RCC_HCLK_DIV1;

  if (HAL_RCC_ClockConfig(&RCC_ClkInitStruct, FLASH_LATENCY_3) != HAL_OK)
  {
    Error_Handler();
  }

  /** Configure the programming delay
  */
  __HAL_FLASH_SET_PROGRAM_DELAY(FLASH_PROGRAMMING_DELAY_1);
}

static void MX_SPI2_Init(void)
{

  /* SPI2 parameter configuration*/
  hspi2.Instance = SPI2;
  hspi2.Init.Mode = SPI_MODE_MASTER;
  hspi2.Init.Direction = SPI_DIRECTION_2LINES;
  hspi2.Init.DataSize = SPI_DATASIZE_8BIT;
  hspi2.Init.CLKPolarity = SPI_POLARITY_LOW;
  hspi2.Init.CLKPhase = SPI_PHASE_1EDGE;
  hspi2.Init.NSS = SPI_NSS_SOFT;
  hspi2.Init.BaudRatePrescaler = SPI_BAUDRATEPRESCALER_32;
  hspi2.Init.FirstBit = SPI_FIRSTBIT_MSB;
  hspi2.Init.TIMode = SPI_TIMODE_DISABLE;
  hspi2.Init.CRCCalculation = SPI_CRCCALCULATION_DISABLE;
  hspi2.Init.CRCPolynomial = 0x7;
  hspi2.Init.NSSPMode = SPI_NSS_PULSE_ENABLE;
  hspi2.Init.NSSPolarity = SPI_NSS_POLARITY_LOW;
  hspi2.Init.FifoThreshold = SPI_FIFO_THRESHOLD_01DATA;
  hspi2.Init.MasterSSIdleness = SPI_MASTER_SS_IDLENESS_00CYCLE;
  hspi2.Init.MasterInterDataIdleness = SPI_MASTER_INTERDATA_IDLENESS_00CYCLE;
  hspi2.Init.MasterReceiverAutoSusp = SPI_MASTER_RX_AUTOSUSP_DISABLE;
  hspi2.Init.MasterKeepIOState = SPI_MASTER_KEEP_IO_STATE_DISABLE;
  hspi2.Init.IOSwap = SPI_IO_SWAP_DISABLE;
  hspi2.Init.ReadyMasterManagement = SPI_RDY_MASTER_MANAGEMENT_INTERNALLY;
  hspi2.Init.ReadyPolarity = SPI_RDY_POLARITY_HIGH;
  if (HAL_SPI_Init(&hspi2) != HAL_OK)
  {
    Error_Handler();
  }

}

static void MX_TIM3_Init(void)
{

  TIM_ClockConfigTypeDef sClockSourceConfig = {0};
  TIM_MasterConfigTypeDef sMasterConfig = {0};
  TIM_OC_InitTypeDef sConfigOC = {0};

  htim3.Instance = TIM3;
  htim3.Init.Prescaler = 719;
  htim3.Init.CounterMode = TIM_COUNTERMODE_UP;
  htim3.Init.Period = 99;
  htim3.Init.ClockDivision = TIM_CLOCKDIVISION_DIV1;
  htim3.Init.AutoReloadPreload = TIM_AUTORELOAD_PRELOAD_DISABLE;
  if (HAL_TIM_Base_Init(&htim3) != HAL_OK)
  {
    Error_Handler();
  }
  sClockSourceConfig.ClockSource = TIM_CLOCKSOURCE_INTERNAL;
  if (HAL_TIM_ConfigClockSource(&htim3, &sClockSourceConfig) != HAL_OK)
  {
    Error_Handler();
  }
  if (HAL_TIM_PWM_Init(&htim3) != HAL_OK)
  {
    Error_Handler();
  }
  sMasterConfig.MasterOutputTrigger = TIM_TRGO_RESET;
  sMasterConfig.MasterSlaveMode = TIM_MASTERSLAVEMODE_DISABLE;
  if (HAL_TIMEx_MasterConfigSynchronization(&htim3, &sMasterConfig) != HAL_OK)
  {
    Error_Handler();
  }
  sConfigOC.OCMode = TIM_OCMODE_PWM1;
  sConfigOC.Pulse = 0;
  sConfigOC.OCPolarity = TIM_OCPOLARITY_HIGH;
  sConfigOC.OCFastMode = TIM_OCFAST_DISABLE;
  if (HAL_TIM_PWM_ConfigChannel(&htim3, &sConfigOC, TIM_CHANNEL_1) != HAL_OK)
  {
    Error_Handler();
  }
  if (HAL_TIM_PWM_ConfigChannel(&htim3, &sConfigOC, TIM_CHANNEL_2) != HAL_OK)
  {
    Error_Handler();
  }
  HAL_TIM_MspPostInit(&htim3);

}

static void MX_USART1_UART_Init(void)
{

  huart1.Instance = USART1;
  huart1.Init.BaudRate = 115200;
  huart1.Init.WordLength = UART_WORDLENGTH_8B;
  huart1.Init.StopBits = UART_STOPBITS_1;
  huart1.Init.Parity = UART_PARITY_NONE;
  huart1.Init.Mode = UART_MODE_TX_RX;
  huart1.Init.HwFlowCtl = UART_HWCONTROL_NONE;
  huart1.Init.OverSampling = UART_OVERSAMPLING_16;
  huart1.Init.OneBitSampling = UART_ONE_BIT_SAMPLE_DISABLE;
  huart1.Init.ClockPrescaler = UART_PRESCALER_DIV1;
  huart1.AdvancedInit.AdvFeatureInit = UART_ADVFEATURE_NO_INIT;
  if (HAL_UART_Init(&huart1) != HAL_OK)
  {
    Error_Handler();
  }
  if (HAL_UARTEx_SetTxFifoThreshold(&huart1, UART_TXFIFO_THRESHOLD_1_8) != HAL_OK)
  {
    Error_Handler();
  }
  if (HAL_UARTEx_SetRxFifoThreshold(&huart1, UART_RXFIFO_THRESHOLD_1_8) != HAL_OK)
  {
    Error_Handler();
  }
  if (HAL_UARTEx_DisableFifoMode(&huart1) != HAL_OK)
  {
    Error_Handler();
  }

}

static void MX_USART2_UART_Init(void)
{

  huart2.Instance = USART2;
  huart2.Init.BaudRate = 115200;
  huart2.Init.WordLength = UART_WORDLENGTH_8B;
  huart2.Init.StopBits = UART_STOPBITS_1;
  huart2.Init.Parity = UART_PARITY_NONE;
  huart2.Init.Mode = UART_MODE_TX_RX;
  huart2.Init.HwFlowCtl = UART_HWCONTROL_NONE;
  huart2.Init.OverSampling = UART_OVERSAMPLING_16;
  huart2.Init.OneBitSampling = UART_ONE_BIT_SAMPLE_DISABLE;
  huart2.Init.ClockPrescaler = UART_PRESCALER_DIV1;
  huart2.AdvancedInit.AdvFeatureInit = UART_ADVFEATURE_NO_INIT;
  if (HAL_UART_Init(&huart2) != HAL_OK)
  {
    Error_Handler();
  }
  if (HAL_UARTEx_SetTxFifoThreshold(&huart2, UART_TXFIFO_THRESHOLD_1_8) != HAL_OK)
  {
    Error_Handler();
  }
  if (HAL_UARTEx_SetRxFifoThreshold(&huart2, UART_RXFIFO_THRESHOLD_1_8) != HAL_OK)
  {
    Error_Handler();
  }
  if (HAL_UARTEx_DisableFifoMode(&huart2) != HAL_OK)
  {
    Error_Handler();
  }

}

static void MX_GPIO_Init(void)
{
  GPIO_InitTypeDef GPIO_InitStruct = {0};

  /* GPIO Ports Clock Enable */
  __HAL_RCC_GPIOE_CLK_ENABLE();
  __HAL_RCC_GPIOC_CLK_ENABLE();
  __HAL_RCC_GPIOA_CLK_ENABLE();
  __HAL_RCC_GPIOB_CLK_ENABLE();
  __HAL_RCC_GPIOF_CLK_ENABLE();
  __HAL_RCC_GPIOD_CLK_ENABLE();

  /*Configure GPIO pin Output Level */
  HAL_GPIO_WritePin(GPIOC, M_IN3_Pin|M_IN4_Pin|US_TRIG_Pin, GPIO_PIN_RESET);

  /*Configure GPIO pin Output Level */
  HAL_GPIO_WritePin(GPIOB, M_IN1_Pin|M_IN2_Pin, GPIO_PIN_RESET);
  HAL_GPIO_WritePin(RFID_CS_GPIO_Port, RFID_CS_Pin, GPIO_PIN_SET);

  /*Configure GPIO pin Output Level */
  HAL_GPIO_WritePin(RFID_RST_GPIO_Port, RFID_RST_Pin, GPIO_PIN_RESET);

  /*Configure GPIO pin : US_ECHO_Pin */
  GPIO_InitStruct.Pin = US_ECHO_Pin;
  GPIO_InitStruct.Mode = GPIO_MODE_INPUT;
  GPIO_InitStruct.Pull = GPIO_NOPULL;
  HAL_GPIO_Init(US_ECHO_GPIO_Port, &GPIO_InitStruct);

  /*Configure GPIO pins : M_IN3_Pin M_IN4_Pin US_TRIG_Pin */
  GPIO_InitStruct.Pin = M_IN3_Pin|M_IN4_Pin|US_TRIG_Pin;
  GPIO_InitStruct.Mode = GPIO_MODE_OUTPUT_PP;
  GPIO_InitStruct.Pull = GPIO_NOPULL;
  GPIO_InitStruct.Speed = GPIO_SPEED_FREQ_LOW;
  HAL_GPIO_Init(GPIOC, &GPIO_InitStruct);

  /*Configure GPIO pins : M_IN1_Pin M_IN2_Pin RFID_CS_Pin */
  GPIO_InitStruct.Pin = M_IN1_Pin|M_IN2_Pin|RFID_CS_Pin;
  GPIO_InitStruct.Mode = GPIO_MODE_OUTPUT_PP;
  GPIO_InitStruct.Pull = GPIO_NOPULL;
  GPIO_InitStruct.Speed = GPIO_SPEED_FREQ_LOW;
  HAL_GPIO_Init(GPIOB, &GPIO_InitStruct);

  /*Configure GPIO pins : Left_IR_Pin Center_IR_Pin Right_IR_Pin */
  GPIO_InitStruct.Pin = Left_IR_Pin|Center_IR_Pin|Right_IR_Pin;
  GPIO_InitStruct.Mode = GPIO_MODE_INPUT;
  GPIO_InitStruct.Pull = GPIO_PULLUP;
  HAL_GPIO_Init(GPIOF, &GPIO_InitStruct);

  /*Configure GPIO pin : RFID_RST_Pin */
  GPIO_InitStruct.Pin = RFID_RST_Pin;
  GPIO_InitStruct.Mode = GPIO_MODE_OUTPUT_PP;
  GPIO_InitStruct.Pull = GPIO_NOPULL;
  GPIO_InitStruct.Speed = GPIO_SPEED_FREQ_LOW;
  HAL_GPIO_Init(RFID_RST_GPIO_Port, &GPIO_InitStruct);

}

void Error_Handler(void)
{
  __disable_irq();
  while (1)
  {
  }
}
